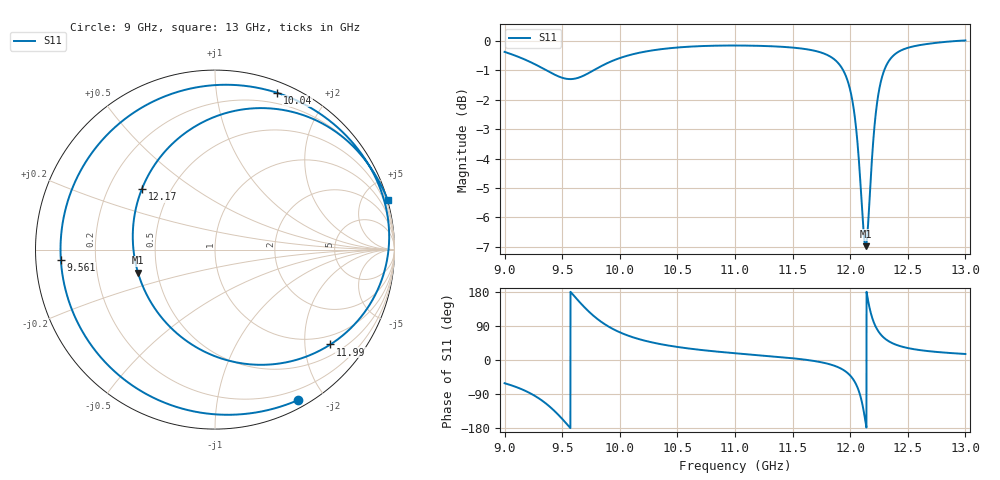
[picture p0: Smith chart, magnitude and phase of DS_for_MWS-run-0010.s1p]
! TOUCHSTONE file generated by CST DESIGN STUDIO
! Date and time: Wed Feb  5 13:40:40 2025
! Project name: C:\Work\MatlabApps\UnitCellOptimizationMatlab\CST\unitcell.cst
! Tree item: Tasks\Sweep1\SPara1\S-Parameters
! Header version: 2024
! Port assignment regex: !\s*Touchstone port\s*([0-9]+)\s*=\s*(CST MWS port|CST DES external port|CST DES block port)\s*(.+)\s* \(\"(.*)\"\)(\s*mode\s*([0-9]+))?.*
! Touchstone port assignment:
! Touchstone port 1 = CST DES external port 1 ("")
# GHz S MA R 50
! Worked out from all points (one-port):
!   4001 points, 9 GHz to 13 GHz, reference 50 ohm
!   lowest |S11| = -7.0 dB at 12.13 GHz (marker M1), VSWR 2.62, Z = 19.4 - j6.28 ohm
!   |S11| at or under -10 dB: nowhere
!   S11 on the Smith chart (normalised r, x): 9 GHz: 0.08, -1.68; 9.561 GHz: 0.07, -0.03; 10.04 GHz: 0.10, +1.47; 11.99 GHz: 0.76, -2.60; 12.17 GHz: 0.34, +0.32; 13 GHz: -0.03, +7.18
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9  0.9573 -61.3
9.158  0.9324 -78.4
9.308  0.9028 -103.4
9.406  0.8816 -126.9
9.5  0.8652 -155.4
9.561  0.8608 -176.2
9.649  0.8665 153.4
9.765  0.8892 118.4
9.867  0.9114 94.9
10  0.9346 73.1
10.037  0.9397 68.4
10.237  0.9598 49.5
10.5  0.9739 34.4
11  0.9815 17.8
11.5  0.9736 4.6
11.847  0.9346 -13.5
11.995  0.8324 -39.4
12  0.8248 -41.0
12.039  0.7451 -57.3
12.078  0.6167 -84.6
12.105  0.5091 -115.8
12.133  0.448 -163.2
12.166  0.5288 140.4
12.203  0.6873 100.8
12.246  0.8146 75.0
12.344  0.929 47.8
12.5  0.9727 31.5
13  1.001 15.9
